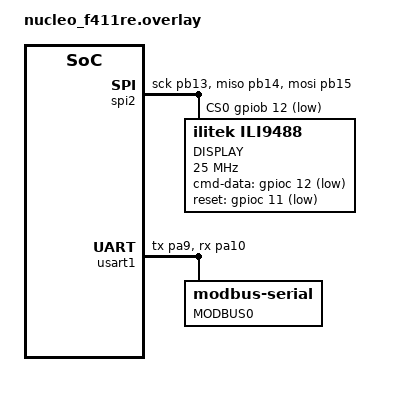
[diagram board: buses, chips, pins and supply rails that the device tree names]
/*
 * Copyright (c) 2020 Phytec Messtechnik GmbH
 *
 * SPDX-License-Identifier: Apache-2.0
 */

#include <dt-bindings/display/ili9xxx.h>

&dma1 {
    status = "okay";
};

&spi2 {
        status = "okay";

        cs-gpios = <&gpiob 12 GPIO_ACTIVE_LOW>;

        pinctrl-0 = < &spi2_sck_pb13
                      &spi2_miso_pb14
                      &spi2_mosi_pb15>;

        dmas = <&dma1 4 0 0x28440 0x03>,
               <&dma1 3 0 0x28480 0x03>;
        dma-names = "tx", "rx";

        ili9488@0 {
                compatible = "ilitek,ili9488";
                label = "DISPLAY";
                spi-max-frequency = <25000000>;
                reg = <0>;
                cmd-data-gpios = <&gpioc 12 (GPIO_ACTIVE_LOW)>;
                reset-gpios = <&gpioc 11 (GPIO_ACTIVE_LOW)>;
                pixel-format = <ILI9XXX_PIXEL_FORMAT_RGB888>;
                rotation = <270>;
                frmctr1 = [a0 11];
                pwctrl1 = [17 15];
                pwctrl2 = [41];
                pgamctrl = [00 03 09 08 16 0a 3f 78 4c 09 0a 08 16 1a 0f];
                ngamctrl = [00 16 19 03 0f 05 32 45 46 04 0e 0d 35 37 0f];
        };
};

&usart1 {
    status = "okay";

    pinctrl-0 = < &usart1_tx_pa9
                  &usart1_rx_pa10 >;

    modbus0 {
        compatible = "zephyr,modbus-serial";
        label = "MODBUS0";
        status = "okay";
    };
};

// &i2c1 {
//     label = "KEYPAD";
// };

// / {
//     zephyr,user {
//         keyevent-gpios = <&gpiob 13 (GPIO_ACTIVE_LOW | GPIO_PULL_UP)>;
//     };
// };
